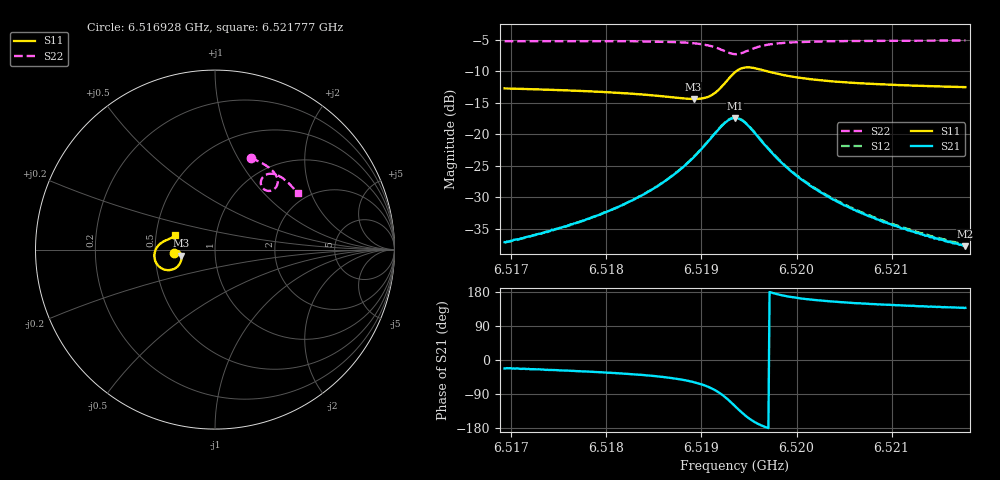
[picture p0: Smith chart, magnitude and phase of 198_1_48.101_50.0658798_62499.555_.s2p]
#  HZ  S  RI  R  50.00
! Rohde & Schwarz Vector Network Analyzer
! Rohde-Schwarz,ZNB20-2Port,1311601062101988,3.16
! Created: UTC 12/23/2023, 3:54:27 AM
! freq[Hz]  re:S11  im:S11  re:S21  im:S21  re:S12  im:S12  re:S22  im:S22
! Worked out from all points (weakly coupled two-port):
!   401 points, 6.516928 GHz to 6.521777 GHz, reference 50 ohm
!   highest |S21| = -17.39 dB at 6.519353 GHz (marker M1); lowest = -37.7 dB at 6.521777 GHz (marker M2)
!   lowest |S11| = -14.4 dB at 6.518916 GHz (marker M3), VSWR 1.47, Z = 34.1 - j2.36 ohm
!   |S11| at or under -10 dB: start of sweep to 6.519364 GHz; 6.519696 GHz to end of sweep
!   |S22| runs from -7.3 to -5.1 dB; largest |S21 - S12| = 0.0043
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6.516928e9  -0.2309 -0.0183  0.0129 -0.00531  0.0131 -0.00462  0.1982 0.511
6.5173039e9  -0.2269 -0.0127  0.0148 -0.00688  0.015 -0.00642  0.2257 0.4999
6.5177403e9  -0.2208 -0.00743  0.0178 -0.0102  0.0181 -0.00961  0.2581 0.484
6.5181889e9  -0.2121 -0.00512  0.0226 -0.0165  0.0231 -0.0157  0.2918 0.4633
6.5185525e9  -0.2016 -0.00924  0.0287 -0.0273  0.0295 -0.0264  0.3199 0.4401
6.5187465e9  -0.1942 -0.0176  0.0325 -0.0386  0.0339 -0.0377  0.3349 0.4221
6.5189162e9  -0.1881 -0.0333  0.0345 -0.0559  0.0366 -0.0552  0.3462 0.3998
6.5190253e9  -0.1872 -0.0514  0.0323 -0.0738  0.0347 -0.0731  0.3496 0.3794
6.5191223e9  -0.1943 -0.075  0.0223 -0.0954  0.0252 -0.0954  0.3452 0.3567
6.5192557e9  -0.2357 -0.1106  -0.0203 -0.1235  -0.0168 -0.125  0.3133 0.3284
6.5193042e9  -0.2631 -0.1145  -0.0455 -0.1244  -0.0421 -0.1264  0.2937 0.3273
6.5193527e9  -0.2925 -0.1072  -0.071 -0.1148  -0.0681 -0.1179  0.2745 0.3352
6.5194133e9  -0.3218 -0.0833  -0.0945 -0.0908  -0.0927 -0.0942  0.2586 0.3554
6.5194739e9  -0.3362 -0.0519  -0.1039 -0.062  -0.1028 -0.0656  0.2557 0.3789
6.5195709e9  -0.3339 -0.00879  -0.0972 -0.0254  -0.0972 -0.0285  0.2696 0.4066
6.51968e9  -0.3179 0.0202  -0.0804 -0.00329  -0.0807 -0.00564  0.2922 0.4202
6.5199103e9  -0.2874 0.0449  -0.0524 0.0115  -0.0532 0.0101  0.3311 0.4204
6.5201649e9  -0.2676 0.0544  -0.0357 0.0137  -0.0366 0.0129  0.3598 0.4088
6.5205407e9  -0.2506 0.0614  -0.0234 0.0127  -0.0241 0.0122  0.3903 0.3876
6.5209772e9  -0.2385 0.0679  -0.0161 0.011  -0.0167 0.0108  0.4184 0.3619
6.5214257e9  -0.2296 0.074  -0.0118 0.00971  -0.0123 0.00955  0.4428 0.3347
6.5217773e9  -0.2236 0.0789  -0.00961 0.00873  -0.00995 0.00884  0.4598 0.313
